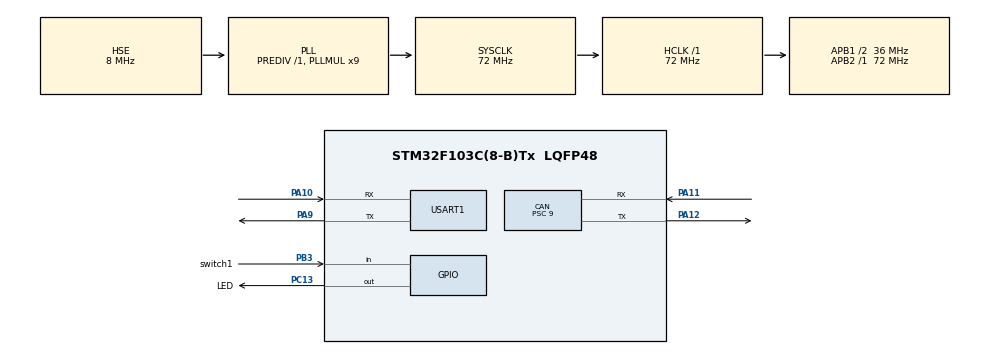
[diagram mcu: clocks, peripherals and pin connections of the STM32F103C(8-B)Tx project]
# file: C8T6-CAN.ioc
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CAN.BS1=CAN_BS1_5TQ
CAN.BS2=CAN_BS2_2TQ
CAN.CalculateBaudRate=500000
CAN.CalculateTimeBit=2000
CAN.CalculateTimeQuantum=250.0
CAN.Mode=CAN_MODE_NORMAL
CAN.Prescaler=9
FREERTOS.Tasks01=defaultTask,24,128,StartDefaultTask,Default,NULL,Dynamic,NULL,NULL;uart_task1,8,128,StartTask02,Default,NULL,Dynamic,NULL,NULL;uart_task2,8,128,StartTask03,Default,NULL,Dynamic,NULL,NULL
Mcu.Family=STM32F1
Mcu.Name=STM32F103C(8-B)Tx
Mcu.Package=LQFP48
NVIC.PriorityGroup=NVIC_PRIORITYGROUP_4
NVIC.USB_LP_CAN1_RX0_IRQn=true\:5\:0\:false\:false\:true\:true\:true\:true\:true
PA10.Mode=Asynchronous
PA10.Signal=USART1_RX
PA11.Mode=CAN_Activate
PA11.Signal=CAN_RX
PA12.Mode=CAN_Activate
PA12.Signal=CAN_TX
PA13.Mode=Serial_Wire
PA13.Signal=SYS_JTMS-SWDIO
PA14.Mode=Serial_Wire
PA14.Signal=SYS_JTCK-SWCLK
PA9.Mode=Asynchronous
PA9.Signal=USART1_TX
PB3.GPIO_Label=switch1
PB3.GPIO_PuPd=GPIO_PULLUP
PB3.Signal=GPIO_Input
PC13-TAMPER-RTC.GPIO_Label=LED
PC13-TAMPER-RTC.GPIO_PuPd=GPIO_PULLUP
PC13-TAMPER-RTC.PinState=GPIO_PIN_SET
PC13-TAMPER-RTC.Signal=GPIO_Output
PD0-OSC_IN.Mode=HSE-External-Oscillator
PD0-OSC_IN.Signal=RCC_OSC_IN
PD1-OSC_OUT.Mode=HSE-External-Oscillator
PD1-OSC_OUT.Signal=RCC_OSC_OUT
ProjectManager.HeapSize=0x200
ProjectManager.StackSize=0x400
ProjectManager.TargetToolchain=STM32CubeIDE
RCC.AHBFreq_Value=72000000
RCC.APB1CLKDivider=RCC_HCLK_DIV2
RCC.APB1Freq_Value=36000000
RCC.APB1TimFreq_Value=72000000
RCC.APB2Freq_Value=72000000
RCC.APB2TimFreq_Value=72000000
RCC.HCLKFreq_Value=72000000
RCC.PLLMUL=RCC_PLL_MUL9
RCC.PLLSourceVirtual=RCC_PLLSOURCE_HSE
RCC.SYSCLKFreq_VALUE=72000000
RCC.SYSCLKSource=RCC_SYSCLKSOURCE_PLLCLK
RCC.USBFreq_Value=72000000
USART1.VirtualMode=VM_ASYNC
VP_FREERTOS_VS_CMSIS_V2.Mode=CMSIS_V2
board=custom

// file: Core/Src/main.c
/* USER CODE BEGIN Header */
/**
  ******************************************************************************
  * @file           : main.c
  * @brief          : Main program body
  ******************************************************************************
  * @attention
  *
  * Copyright (c) 2022 STMicroelectronics.
  * All rights reserved.
  *
  * This software is licensed under terms that can be found in the LICENSE file
  * in the root directory of this software component.
  * If no LICENSE file comes with this software, it is provided AS-IS.
  *
  ******************************************************************************
  */
/* USER CODE END Header */
#include "main.h"
#include "cmsis_os.h"
#include "can.h"
#include "usart.h"
#include "gpio.h"

/* USER CODE BEGIN Includes */
#include "bsp_can.h"

//uint8_t SendMsg[8]={6,6,6,6,6,6,6,6};//can发�?�的内容
uint8_t switch01 = 0;

/* USER CODE END Includes */

void SystemClock_Config(void);
void MX_FREERTOS_Init(void);

int main(void)
{

  /* MCU Configuration--------------------------------------------------------*/

  /* Reset of all peripherals, Initializes the Flash interface and the Systick. */
  HAL_Init();

  /* Configure the system clock */
  SystemClock_Config();

  /* Initialize all configured peripherals */
  MX_GPIO_Init();
  MX_CAN_Init();
  MX_USART1_UART_Init();
  /* USER CODE BEGIN 2 */

  //开启can1
  HAL_CAN_Start(&hcan);
  //初始化can过滤器
  CAN1_Filter_Init();

  //开启can中断
  if (HAL_CAN_ActivateNotification(&hcan, CAN_IT_RX_FIFO0_MSG_PENDING) != HAL_OK)
  {
    Error_Handler();
  }

  /* USER CODE END 2 */

  /* Init scheduler */
  osKernelInitialize();  /* Call init function for freertos objects (in freertos.c) */
  MX_FREERTOS_Init();

  /* Start scheduler */
  osKernelStart();

  /* We should never get here as control is now taken by the scheduler */
  /* Infinite loop */
  while (1)
  {

  }
}

void SystemClock_Config(void)
{
  RCC_OscInitTypeDef RCC_OscInitStruct = {0};
  RCC_ClkInitTypeDef RCC_ClkInitStruct = {0};

  /** Initializes the RCC Oscillators according to the specified parameters
  * in the RCC_OscInitTypeDef structure.
  */
  RCC_OscInitStruct.OscillatorType = RCC_OSCILLATORTYPE_HSE;
  RCC_OscInitStruct.HSEState = RCC_HSE_ON;
  RCC_OscInitStruct.HSEPredivValue = RCC_HSE_PREDIV_DIV1;
  RCC_OscInitStruct.HSIState = RCC_HSI_ON;
  RCC_OscInitStruct.PLL.PLLState = RCC_PLL_ON;
  RCC_OscInitStruct.PLL.PLLSource = RCC_PLLSOURCE_HSE;
  RCC_OscInitStruct.PLL.PLLMUL = RCC_PLL_MUL9;
  if (HAL_RCC_OscConfig(&RCC_OscInitStruct) != HAL_OK)
  {
    Error_Handler();
  }

  /** Initializes the CPU, AHB and APB buses clocks
  */
  RCC_ClkInitStruct.ClockType = RCC_CLOCKTYPE_HCLK|RCC_CLOCKTYPE_SYSCLK
                              |RCC_CLOCKTYPE_PCLK1|RCC_CLOCKTYPE_PCLK2;
  RCC_ClkInitStruct.SYSCLKSource = RCC_SYSCLKSOURCE_PLLCLK;
  RCC_ClkInitStruct.AHBCLKDivider = RCC_SYSCLK_DIV1;
  RCC_ClkInitStruct.APB1CLKDivider = RCC_HCLK_DIV2;
  RCC_ClkInitStruct.APB2CLKDivider = RCC_HCLK_DIV1;

  if (HAL_RCC_ClockConfig(&RCC_ClkInitStruct, FLASH_LATENCY_2) != HAL_OK)
  {
    Error_Handler();
  }
}

void Error_Handler(void)
{
  __disable_irq();
  while (1)
  {
  }
}

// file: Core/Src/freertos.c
/* USER CODE BEGIN Header */
/**
  ******************************************************************************
  * File Name          : freertos.c
  * Description        : Code for freertos applications
  ******************************************************************************
  * @attention
  *
  * Copyright (c) 2022 STMicroelectronics.
  * All rights reserved.
  *
  * This software is licensed under terms that can be found in the LICENSE file
  * in the root directory of this software component.
  * If no LICENSE file comes with this software, it is provided AS-IS.
  *
  ******************************************************************************
  */
/* USER CODE END Header */

#include "FreeRTOS.h"
#include "task.h"
#include "main.h"
#include "cmsis_os.h"

/* USER CODE BEGIN Includes */
#include "bsp_can.h"
#include "usart.h"

uint8_t Rxbuf[1];
//can发送的内容
uint8_t SendMsg[8]={6,6,6,6,6,6,6,6};
/* USER CODE END Includes */

/* Definitions for defaultTask */
osThreadId_t defaultTaskHandle;
const osThreadAttr_t defaultTask_attributes = {
  .name = "defaultTask",
  .stack_size = 128 * 4,
  .priority = (osPriority_t) osPriorityNormal,
};
/* Definitions for uart_task1 */
osThreadId_t uart_task1Handle;
const osThreadAttr_t uart_task1_attributes = {
  .name = "uart_task1",
  .stack_size = 128 * 4,
  .priority = (osPriority_t) osPriorityLow,
};
/* Definitions for uart_task2 */
osThreadId_t uart_task2Handle;
const osThreadAttr_t uart_task2_attributes = {
  .name = "uart_task2",
  .stack_size = 128 * 4,
  .priority = (osPriority_t) osPriorityLow,
};

void StartDefaultTask(void *argument);
void StartTask02(void *argument);
void StartTask03(void *argument);

void MX_FREERTOS_Init(void); /* (MISRA C 2004 rule 8.1) */

void MX_FREERTOS_Init(void) {

  /* Create the thread(s) */
  /* creation of defaultTask */
  defaultTaskHandle = osThreadNew(StartDefaultTask, NULL, &defaultTask_attributes);

  /* creation of uart_task1 */
  uart_task1Handle = osThreadNew(StartTask02, NULL, &uart_task1_attributes);

  /* creation of uart_task2 */
  uart_task2Handle = osThreadNew(StartTask03, NULL, &uart_task2_attributes);

}

void StartDefaultTask(void *argument)
{
  for(;;)
  {
    osDelay(1);
  }
}

void StartTask02(void *argument)
{
  /* USER CODE BEGIN StartTask02 */
  /* Infinite loop */
  for(;;)
  {

	  CAN1_Send_Msg(&TxMsg, 0X11, SendMsg);      //第二个参数是报文ID，最大0-0x7FF

	  //判断是否接收到数据   rcvdFlag定义在can.c里面，在接收中断做了处理
	  if (rcvdFlag == 1)
	     {
	       rcvdFlag = 0;
	       if (RxMsg.payload[0] == 6)//判断是否收到正确的数据
	       {
	         HAL_GPIO_TogglePin(LED_GPIO_Port, LED_Pin);//;LED状态反转
	         //收到正常数据会发送到上位机显示接收到的内容
	         HAL_UART_Transmit(&huart1,RxMsg.payload,8,0xffff);
	       }
	     }
	  HAL_Delay(500);
	  osDelay(1);
  }
  /* USER CODE END StartTask02 */
}

void StartTask03(void *argument)
{
  /* USER CODE BEGIN StartTask03 */
  /* Infinite loop */
  for(;;)
  {
//	  HAL_UART_Receive(&huart1, Rxbuf, 1, 20);
//	  HAL_UART_Transmit(&huart1,Rxbuf, 1, 20);
//	  HAL_Delay(500);
    osDelay(1);
  }
  /* USER CODE END StartTask03 */
}
